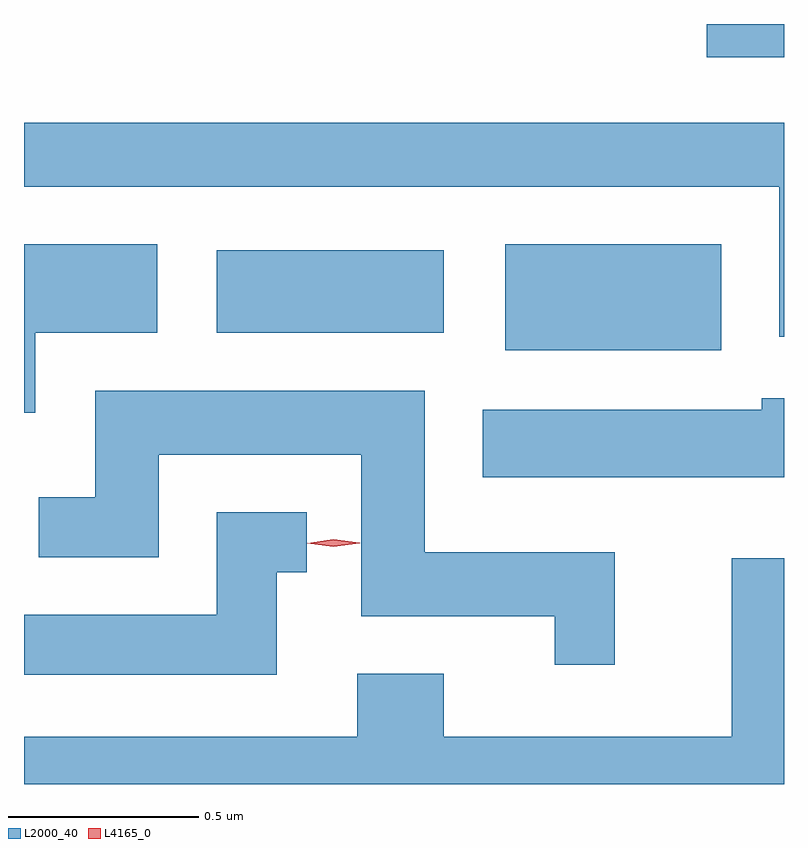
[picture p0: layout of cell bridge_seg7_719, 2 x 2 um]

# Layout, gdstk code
import gdstk
lib = gdstk.Library(unit=1e-6, precision=1e-09)
def R(c, l, rs):  # rectangles x0, y0, x1, y1
    for r in rs: c.add(gdstk.rectangle(r[:2], r[2:], *l))
def P(c, l, *ps):  # polygons
    for p in ps: c.add(gdstk.Polygon(p, *l))
L2000_40 = (2000, 40)
L4165_0 = (4165, 0)

bridge_seg7_719 = lib.new_cell('bridge_seg7_719')
R(bridge_seg7_719, L2000_40, [(929.801,1715.601,930.369,1715.879), (929.041,1715.646,929.639,1715.864), (930.331,1716.371,930.534,1716.459)])
P(bridge_seg7_719, L2000_40, [(930.534,1716.199),(928.534,1716.199),(928.534,1716.031),(930.521,1716.031),(930.521,1715.636),(930.534,1715.636)],
  [(928.564,1715.646),(928.884,1715.646),(928.884,1715.879),(928.534,1715.879),(928.534,1715.436),(928.564,1715.436)],
  [(930.089,1715.069),(929.589,1715.069),(929.589,1715.494),(928.721,1715.494),(928.721,1715.214),(928.573,1715.214),(928.573,1715.056),(928.889,1715.056),(928.889,1715.326),(929.421,1715.326),(929.421,1714.901),(929.931,1714.901),(929.931,1714.773),(930.089,1714.773)],
  [(930.534,1715.474),(930.476,1715.474),(930.476,1715.444),(929.741,1715.444),(929.741,1715.266),(930.534,1715.266)],
  [(929.199,1715.016),(929.278,1715.016),(929.278,1715.174),(929.041,1715.174),(929.041,1714.904),(928.534,1714.904),(928.534,1714.746),(929.199,1714.746)],
  [(930.534,1715.053),(930.396,1715.053),(930.396,1714.584),(929.639,1714.584),(929.639,1714.749),(929.411,1714.749),(929.411,1714.584),(928.534,1714.584),(928.534,1714.459),(930.534,1714.459)])
P(bridge_seg7_719, L4165_0, [(929.348,1715.083),(929.279,1715.092),(929.279,1715.093),(929.279,1715.093),(929.348,1715.103),(929.418,1715.094),(929.418,1715.093),(929.418,1715.093)])

lib.write_gds('bridge_seg7_719.gds')
